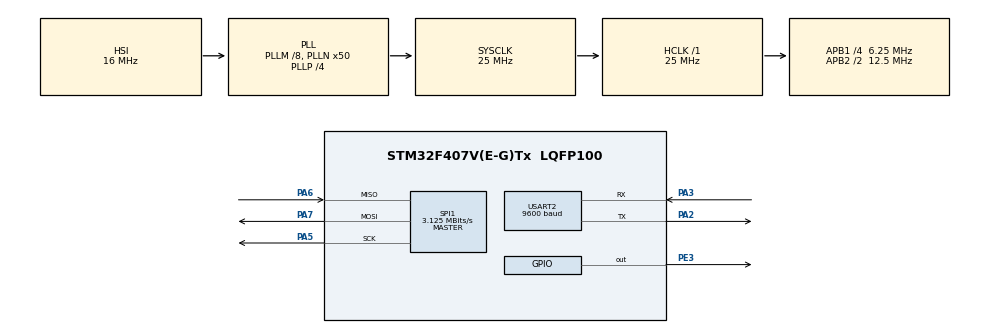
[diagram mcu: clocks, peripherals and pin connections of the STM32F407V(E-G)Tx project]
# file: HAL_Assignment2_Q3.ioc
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Mcu.Family=STM32F4
Mcu.Name=STM32F407V(E-G)Tx
Mcu.Package=LQFP100
NVIC.PriorityGroup=NVIC_PRIORITYGROUP_0
PA2.Mode=Asynchronous
PA2.Signal=USART2_TX
PA3.Mode=Asynchronous
PA3.Signal=USART2_RX
PA5.Mode=Full_Duplex_Master
PA5.Signal=SPI1_SCK
PA6.Mode=Full_Duplex_Master
PA6.Signal=SPI1_MISO
PA7.Mode=Full_Duplex_Master
PA7.Signal=SPI1_MOSI
PE3.Signal=GPIO_Output
ProjectManager.HeapSize=0x200
ProjectManager.StackSize=0x400
ProjectManager.TargetToolchain=STM32CubeIDE
RCC.48MHZClocksFreq_Value=14285714.285714285
RCC.AHBFreq_Value=25000000
RCC.APB1CLKDivider=RCC_HCLK_DIV4
RCC.APB1Freq_Value=6250000
RCC.APB1TimFreq_Value=12500000
RCC.APB2CLKDivider=RCC_HCLK_DIV2
RCC.APB2Freq_Value=12500000
RCC.APB2TimFreq_Value=25000000
RCC.CortexFreq_Value=25000000
RCC.HCLKFreq_Value=25000000
RCC.HSE_VALUE=8000000
RCC.HSI_VALUE=16000000
RCC.LSE_VALUE=32768
RCC.PLLM=8
RCC.PLLN=50
RCC.PLLP=RCC_PLLP_DIV4
RCC.PLLQ=7
RCC.SYSCLKFreq_VALUE=25000000
RCC.SYSCLKSource=RCC_SYSCLKSOURCE_PLLCLK
RCC.VCOOutputFreq_Value=100000000
SPI1.BaudRatePrescaler=SPI_BAUDRATEPRESCALER_4
SPI1.CalculateBaudRate=3.125 MBits/s
SPI1.Direction=SPI_DIRECTION_2LINES
SPI1.Mode=SPI_MODE_MASTER
SPI1.VirtualType=VM_MASTER
USART2.BaudRate=9600
USART2.VirtualMode=VM_ASYNC
board=STM32F407G-DISC1

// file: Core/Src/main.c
/* USER CODE BEGIN Header */
/**
  ******************************************************************************
  * @file           : main.c
  * @brief          : Main program body
  ******************************************************************************
  * @attention
  *
  * Copyright (c) 2026 STMicroelectronics.
  * All rights reserved.
  *
  * This software is licensed under terms that can be found in the LICENSE file
  * in the root directory of this software component.
  * If no LICENSE file comes with this software, it is provided AS-IS.
  *
  ******************************************************************************
  */
/* USER CODE END Header */
#include "main.h"

/* USER CODE BEGIN Includes */
#include<stdio.h>
#include<string.h>
#include"lis3dsh.h"
/* USER CODE END Includes */

SPI_HandleTypeDef hspi1;

UART_HandleTypeDef huart2;

/* USER CODE BEGIN PV */
char str[64];
/* USER CODE END PV */

void SystemClock_Config(void);
static void MX_GPIO_Init(void);
static void MX_SPI1_Init(void);
static void MX_USART2_UART_Init(void);

int main(void)
{

  /* MCU Configuration--------------------------------------------------------*/

  /* Reset of all peripherals, Initializes the Flash interface and the Systick. */
  HAL_Init();

  /* Configure the system clock */
  SystemClock_Config();

  /* Initialize all configured peripherals */
  MX_GPIO_Init();
  MX_SPI1_Init();
  MX_USART2_UART_Init();
  /* USER CODE BEGIN 2 */
  Accel_Init();
  /* USER CODE END 2 */

  /* Infinite loop */
  /* USER CODE BEGIN WHILE */
  while (1)
  {
	  AccelReading_t val = Accel_GetReading();
	  sprintf(str, "X = %d\n\rY = %d\n\r", val.x, val.y);
	  if(val.x >3000)
		  HAL_GPIO_WritePin(GPIOD, GPIO_PIN_12, GPIO_PIN_SET);
	  else
		  HAL_GPIO_WritePin(GPIOD, GPIO_PIN_12, GPIO_PIN_RESET);
	  if(val.x < -3000)
		  HAL_GPIO_WritePin(GPIOD, GPIO_PIN_14, GPIO_PIN_SET);
	  else
		  HAL_GPIO_WritePin(GPIOD, GPIO_PIN_14, GPIO_PIN_RESET);
	  if(val.y >3000)
		  HAL_GPIO_WritePin(GPIOD, GPIO_PIN_13, GPIO_PIN_SET);
	  else
		  HAL_GPIO_WritePin(GPIOD, GPIO_PIN_13, GPIO_PIN_RESET);
	  if(val.y < -3000)
		  HAL_GPIO_WritePin(GPIOD, GPIO_PIN_15, GPIO_PIN_SET);
	  else
		  HAL_GPIO_WritePin(GPIOD, GPIO_PIN_15, GPIO_PIN_RESET);
	  HAL_UART_Transmit(&huart2, (uint8_t *)str, strlen(str), HAL_MAX_DELAY);
	  HAL_Delay(1000);
    /* USER CODE END WHILE */

  }
}

void SystemClock_Config(void)
{
  RCC_OscInitTypeDef RCC_OscInitStruct = {0};
  RCC_ClkInitTypeDef RCC_ClkInitStruct = {0};

  /** Configure the main internal regulator output voltage
  */
  __HAL_RCC_PWR_CLK_ENABLE();
  __HAL_PWR_VOLTAGESCALING_CONFIG(PWR_REGULATOR_VOLTAGE_SCALE1);

  /** Initializes the RCC Oscillators according to the specified parameters
  * in the RCC_OscInitTypeDef structure.
  */
  RCC_OscInitStruct.OscillatorType = RCC_OSCILLATORTYPE_HSI;
  RCC_OscInitStruct.HSIState = RCC_HSI_ON;
  RCC_OscInitStruct.HSICalibrationValue = RCC_HSICALIBRATION_DEFAULT;
  RCC_OscInitStruct.PLL.PLLState = RCC_PLL_ON;
  RCC_OscInitStruct.PLL.PLLSource = RCC_PLLSOURCE_HSI;
  RCC_OscInitStruct.PLL.PLLM = 8;
  RCC_OscInitStruct.PLL.PLLN = 50;
  RCC_OscInitStruct.PLL.PLLP = RCC_PLLP_DIV4;
  RCC_OscInitStruct.PLL.PLLQ = 7;
  if (HAL_RCC_OscConfig(&RCC_OscInitStruct) != HAL_OK)
  {
    Error_Handler();
  }

  /** Initializes the CPU, AHB and APB buses clocks
  */
  RCC_ClkInitStruct.ClockType = RCC_CLOCKTYPE_HCLK|RCC_CLOCKTYPE_SYSCLK
                              |RCC_CLOCKTYPE_PCLK1|RCC_CLOCKTYPE_PCLK2;
  RCC_ClkInitStruct.SYSCLKSource = RCC_SYSCLKSOURCE_PLLCLK;
  RCC_ClkInitStruct.AHBCLKDivider = RCC_SYSCLK_DIV1;
  RCC_ClkInitStruct.APB1CLKDivider = RCC_HCLK_DIV4;
  RCC_ClkInitStruct.APB2CLKDivider = RCC_HCLK_DIV2;

  if (HAL_RCC_ClockConfig(&RCC_ClkInitStruct, FLASH_LATENCY_0) != HAL_OK)
  {
    Error_Handler();
  }
}

static void MX_SPI1_Init(void)
{

  /* SPI1 parameter configuration*/
  hspi1.Instance = SPI1;
  hspi1.Init.Mode = SPI_MODE_MASTER;
  hspi1.Init.Direction = SPI_DIRECTION_2LINES;
  hspi1.Init.DataSize = SPI_DATASIZE_8BIT;
  hspi1.Init.CLKPolarity = SPI_POLARITY_LOW;
  hspi1.Init.CLKPhase = SPI_PHASE_1EDGE;
  hspi1.Init.NSS = SPI_NSS_SOFT;
  hspi1.Init.BaudRatePrescaler = SPI_BAUDRATEPRESCALER_4;
  hspi1.Init.FirstBit = SPI_FIRSTBIT_MSB;
  hspi1.Init.TIMode = SPI_TIMODE_DISABLE;
  hspi1.Init.CRCCalculation = SPI_CRCCALCULATION_DISABLE;
  hspi1.Init.CRCPolynomial = 10;
  if (HAL_SPI_Init(&hspi1) != HAL_OK)
  {
    Error_Handler();
  }

}

static void MX_USART2_UART_Init(void)
{

  huart2.Instance = USART2;
  huart2.Init.BaudRate = 9600;
  huart2.Init.WordLength = UART_WORDLENGTH_8B;
  huart2.Init.StopBits = UART_STOPBITS_1;
  huart2.Init.Parity = UART_PARITY_NONE;
  huart2.Init.Mode = UART_MODE_TX_RX;
  huart2.Init.HwFlowCtl = UART_HWCONTROL_NONE;
  huart2.Init.OverSampling = UART_OVERSAMPLING_16;
  if (HAL_UART_Init(&huart2) != HAL_OK)
  {
    Error_Handler();
  }

}

static void MX_GPIO_Init(void)
{
  GPIO_InitTypeDef GPIO_InitStruct = {0};

  /* GPIO Ports Clock Enable */
  __HAL_RCC_GPIOE_CLK_ENABLE();
  __HAL_RCC_GPIOA_CLK_ENABLE();

  /*Configure GPIO pin Output Level */
  HAL_GPIO_WritePin(GPIOE, GPIO_PIN_3, GPIO_PIN_RESET);

  /*Configure GPIO pin : PE3 */
  GPIO_InitStruct.Pin = GPIO_PIN_3;
  GPIO_InitStruct.Mode = GPIO_MODE_OUTPUT_PP;
  GPIO_InitStruct.Pull = GPIO_NOPULL;
  GPIO_InitStruct.Speed = GPIO_SPEED_FREQ_LOW;
  HAL_GPIO_Init(GPIOE, &GPIO_InitStruct);

}

void Error_Handler(void)
{
  __disable_irq();
  while (1)
  {
  }
}
